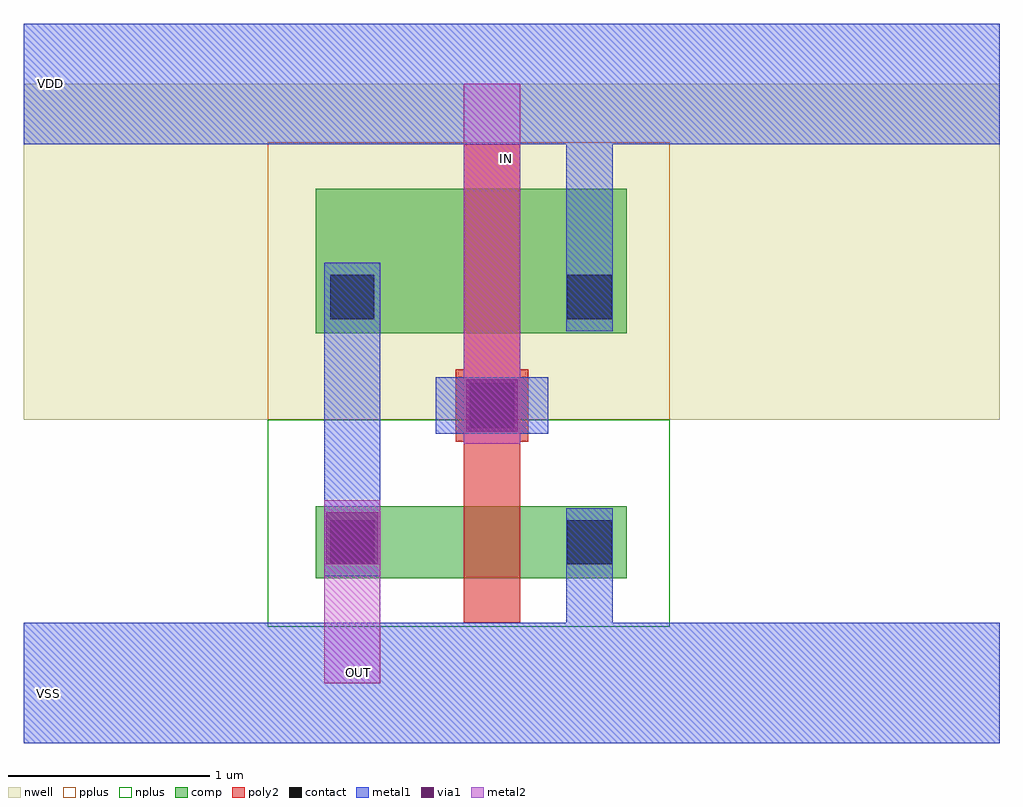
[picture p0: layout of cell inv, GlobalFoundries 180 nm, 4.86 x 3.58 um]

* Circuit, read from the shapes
.subckt inv IN OUT VDD VSS
XM1 VSS IN OUT VSUBS nfet_03v3 w=0.36u l=0.28u
XM2 VDD IN OUT n1 pfet_03v3 w=0.72u l=0.28u
.ends

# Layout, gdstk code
import gdstk
lib = gdstk.Library(unit=1e-6, precision=5e-09)
def R(c, l, rs):  # rectangles x0, y0, x1, y1
    for r in rs: c.add(gdstk.rectangle(r[:2], r[2:], *l))
nwell = (21, 0)
comp = (22, 0)
poly2 = (30, 0)
pplus = (31, 0)
nplus = (32, 0)
contact = (33, 0)
metal1 = (34, 0)
via1 = (35, 0)
metal2 = (36, 0)

inv = lib.new_cell('inv')
R(inv, nwell, [(0,1.38,4.855,3.05)])
R(inv, comp, [(1.455,0.59,3,0.95), (1.455,1.81,3,2.53)])
R(inv, poly2, [(2.19,0.37,2.47,2.75), (2.15,1.27,2.51,1.63)])
R(inv, pplus, [(1.215,1.38,3.215,2.76)])
R(inv, nplus, [(1.215,0.35,3.215,1.38)])
R(inv, contact, [(1.525,0.66,1.745,0.88), (2.705,0.66,2.925,0.88), (2.22,1.34,2.44,1.56), (1.525,1.88,1.745,2.1), (2.705,1.88,2.925,2.1)])
R(inv, metal1, [(0,-0.23,4.855,0.37), (2.7,0.37,2.93,0.94), (1.495,0.6,1.775,2.16), (2.05,1.31,2.61,1.59), (2.7,1.82,2.93,2.75), (0,2.75,4.855,3.35)])
R(inv, via1, [(1.505,0.66,1.765,0.92), (2.2,1.32,2.46,1.58)])
R(inv, metal2, [(1.495,0.07,1.775,0.98), (2.19,1.26,2.47,3.05)])
inv.add(gdstk.Label('VDD', (0.135,3.05), layer=34, texttype=10))
inv.add(gdstk.Label('VSS', (0.125,0.02), layer=34, texttype=10))
inv.add(gdstk.Label('IN', (2.405,2.68), layer=36, texttype=10))
inv.add(gdstk.Label('OUT', (1.665,0.12), layer=36, texttype=10))

lib.write_gds('inv.gds')
